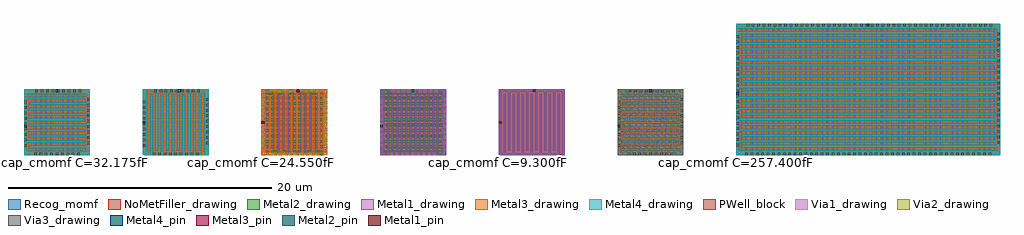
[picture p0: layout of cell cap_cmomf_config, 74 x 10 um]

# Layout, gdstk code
import gdstk
lib = gdstk.Library(unit=1e-6, precision=1e-09)
def R(c, l, rs):  # rectangles x0, y0, x1, y1
    for r in rs: c.add(gdstk.rectangle(r[:2], r[2:], *l))
def A(c, l, x, y, w, h, nx, ny, dx, dy):  # array of equal rectangles
    R(c, l, [(x+i*dx, y+j*dy, x+i*dx+w, y+j*dy+h) for i in range(nx) for j in range(ny)])
Metal1_drawing = (8, 0)
Metal1_pin = (8, 2)
Metal2_drawing = (10, 0)
Metal2_pin = (10, 2)
Via1_drawing = (19, 0)
Via2_drawing = (29, 0)
Metal3_drawing = (30, 0)
Metal3_pin = (30, 2)
PWell_block = (46, 21)
Via3_drawing = (49, 0)
Metal4_drawing = (50, 0)
Metal4_pin = (50, 2)
Recog_momf = (99, 40)
NoMetFiller_drawing = (160, 0)

cap_cmomf_config = lib.new_cell('cap_cmomf_config')
A(cap_cmomf_config, Metal1_drawing, 0.55, 0, 0.16, 4.61, 6, 1, 0.68, 0)
A(cap_cmomf_config, Metal1_drawing, 18.55, 0, 0.16, 4.61, 6, 1, 0.68, 0)
A(cap_cmomf_config, Metal1_drawing, 27.55, 0, 0.16, 4.61, 6, 1, 0.68, 0)
A(cap_cmomf_config, Metal1_drawing, 36.38, 0, 0.16, 4.66, 7, 1, 0.68, 0)
A(cap_cmomf_config, Metal1_drawing, 45.55, 0, 0.16, 4.61, 6, 1, 0.68, 0)
A(cap_cmomf_config, Metal1_drawing, 54.4, 0, 0.16, 9.61, 29, 1, 0.68, 0)
A(cap_cmomf_config, Metal1_drawing, 36.72, 0.34, 0.16, 4.66, 6, 1, 0.68, 0)
A(cap_cmomf_config, Metal1_drawing, 0.89, 0.39, 0.16, 4.61, 6, 1, 0.68, 0)
A(cap_cmomf_config, Metal1_drawing, 18.89, 0.39, 0.16, 4.61, 6, 1, 0.68, 0)
A(cap_cmomf_config, Metal1_drawing, 27.89, 0.39, 0.16, 4.61, 6, 1, 0.68, 0)
A(cap_cmomf_config, Metal1_drawing, 45.89, 0.39, 0.16, 4.61, 6, 1, 0.68, 0)
A(cap_cmomf_config, Metal1_drawing, 54.74, 0.39, 0.16, 9.61, 28, 1, 0.68, 0)
R(cap_cmomf_config, Metal1_drawing, [(0,0,0.33,5), (0,0,4.45,0.21), (4.67,0,5,5), (18,0,18.33,5), (18,0,22.45,0.21), (22.67,0,23,5), (27,0,27.33,5), (27,0,31.45,0.21), (31.67,0,32,5), (36,0,40.62,0.16), (36,0,36.2,5), (40.8,0,41,5), (45,0,45.33,5), (45,0,49.45,0.21), (49.67,0,50,5), (54,0,54.22,10), (54,0,73.6,0.21), (73.78,0,74,10), (0.55,4.79,5,5), (18.55,4.79,23,5), (27.55,4.79,32,5), (45.55,4.79,50,5), (36.38,4.84,41,5), (54.4,9.79,74,10)])
R(cap_cmomf_config, Metal1_pin, [(36,2.4,36.2,2.6), (38.59,4.84,38.79,5)])
A(cap_cmomf_config, Metal2_drawing, 9.555, 0, 0.2, 4.585, 5, 1, 0.82, 0)
A(cap_cmomf_config, Metal2_drawing, 9.965, 0.415, 0.2, 4.585, 5, 1, 0.82, 0)
A(cap_cmomf_config, Metal2_drawing, 0.42, 0.555, 4.58, 0.2, 1, 5, 0, 0.82)
A(cap_cmomf_config, Metal2_drawing, 18.42, 0.555, 4.58, 0.2, 1, 5, 0, 0.82)
A(cap_cmomf_config, Metal2_drawing, 27.42, 0.555, 4.58, 0.2, 1, 5, 0, 0.82)
A(cap_cmomf_config, Metal2_drawing, 45.42, 0.555, 4.58, 0.2, 1, 5, 0, 0.82)
A(cap_cmomf_config, Metal2_drawing, 54.42, 0.595, 19.58, 0.2, 1, 11, 0, 0.82)
A(cap_cmomf_config, Metal2_drawing, 0, 0.965, 4.58, 0.2, 1, 5, 0, 0.82)
A(cap_cmomf_config, Metal2_drawing, 18, 0.965, 4.58, 0.2, 1, 5, 0, 0.82)
A(cap_cmomf_config, Metal2_drawing, 27, 0.965, 4.58, 0.2, 1, 5, 0, 0.82)
A(cap_cmomf_config, Metal2_drawing, 45, 0.965, 4.58, 0.2, 1, 5, 0, 0.82)
A(cap_cmomf_config, Metal2_drawing, 54, 1.005, 19.58, 0.2, 1, 11, 0, 0.82)
R(cap_cmomf_config, Metal2_drawing, [(0,0,5,0.345), (0,0,0.205,4.445), (9,0,9.345,5), (9,0,13.445,0.2), (13.655,0,14,5), (18,0,23,0.345), (18,0,18.205,4.445), (27,0,32,0.345), (27,0,27.205,4.445), (45,0,50,0.345), (45,0,45.205,4.445), (54,0,74,0.385), (54,0,54.205,9.405), (4.795,0.555,5,5), (22.795,0.555,23,5), (31.795,0.555,32,5), (49.795,0.555,50,5), (73.795,0.595,74,10), (0,4.655,5,5), (18,4.655,23,5), (27,4.655,32,5), (45,4.655,50,5), (9.555,4.8,14,5), (54,9.615,74,10)])
R(cap_cmomf_config, Metal2_pin, [(27,2.12,27.2,2.32), (29.4,4.8,29.6,5)])
A(cap_cmomf_config, Via1_drawing, 0.765, 0.01, 0.19, 0.19, 9, 1, 0.41, 0)
A(cap_cmomf_config, Via1_drawing, 18.765, 0.01, 0.19, 0.19, 9, 1, 0.41, 0)
A(cap_cmomf_config, Via1_drawing, 27.765, 0.01, 0.19, 0.19, 9, 1, 0.41, 0)
A(cap_cmomf_config, Via1_drawing, 45.765, 0.01, 0.19, 0.19, 9, 1, 0.41, 0)
A(cap_cmomf_config, Via1_drawing, 54.68, 0.01, 0.19, 0.19, 46, 1, 0.41, 0)
A(cap_cmomf_config, Via1_drawing, 0.01, 0.665, 0.19, 0.19, 1, 9, 0, 0.41)
A(cap_cmomf_config, Via1_drawing, 18.01, 0.665, 0.19, 0.19, 1, 9, 0, 0.41)
A(cap_cmomf_config, Via1_drawing, 27.01, 0.665, 0.19, 0.19, 1, 9, 0, 0.41)
A(cap_cmomf_config, Via1_drawing, 45.01, 0.665, 0.19, 0.19, 1, 9, 0, 0.41)
A(cap_cmomf_config, Via1_drawing, 54.01, 0.705, 0.19, 0.19, 1, 21, 0, 0.41)
A(cap_cmomf_config, Via1_drawing, 4.8, 0.865, 0.19, 0.19, 1, 9, 0, 0.41)
A(cap_cmomf_config, Via1_drawing, 22.8, 0.865, 0.19, 0.19, 1, 9, 0, 0.41)
A(cap_cmomf_config, Via1_drawing, 31.8, 0.865, 0.19, 0.19, 1, 9, 0, 0.41)
A(cap_cmomf_config, Via1_drawing, 49.8, 0.865, 0.19, 0.19, 1, 9, 0, 0.41)
A(cap_cmomf_config, Via1_drawing, 73.8, 0.905, 0.19, 0.19, 1, 21, 0, 0.41)
A(cap_cmomf_config, Via1_drawing, 0.865, 4.8, 0.19, 0.19, 9, 1, 0.41, 0)
A(cap_cmomf_config, Via1_drawing, 18.865, 4.8, 0.19, 0.19, 9, 1, 0.41, 0)
A(cap_cmomf_config, Via1_drawing, 27.865, 4.8, 0.19, 0.19, 9, 1, 0.41, 0)
A(cap_cmomf_config, Via1_drawing, 45.865, 4.8, 0.19, 0.19, 9, 1, 0.41, 0)
A(cap_cmomf_config, Via1_drawing, 54.78, 9.8, 0.19, 0.19, 46, 1, 0.41, 0)
A(cap_cmomf_config, Via2_drawing, 0.765, 0.005, 0.19, 0.19, 9, 1, 0.41, 0)
A(cap_cmomf_config, Via2_drawing, 9.765, 0.005, 0.19, 0.19, 9, 1, 0.41, 0)
A(cap_cmomf_config, Via2_drawing, 18.765, 0.005, 0.19, 0.19, 9, 1, 0.41, 0)
A(cap_cmomf_config, Via2_drawing, 45.765, 0.005, 0.19, 0.19, 9, 1, 0.41, 0)
A(cap_cmomf_config, Via2_drawing, 54.68, 0.005, 0.19, 0.19, 46, 1, 0.41, 0)
A(cap_cmomf_config, Via2_drawing, 0.005, 0.665, 0.19, 0.19, 3, 9, 9, 0.41)
A(cap_cmomf_config, Via2_drawing, 45.005, 0.665, 0.19, 0.19, 1, 9, 0, 0.41)
A(cap_cmomf_config, Via2_drawing, 54.005, 0.705, 0.19, 0.19, 1, 21, 0, 0.41)
A(cap_cmomf_config, Via2_drawing, 4.805, 0.865, 0.19, 0.19, 3, 9, 9, 0.41)
A(cap_cmomf_config, Via2_drawing, 49.805, 0.865, 0.19, 0.19, 1, 9, 0, 0.41)
A(cap_cmomf_config, Via2_drawing, 73.805, 0.905, 0.19, 0.19, 1, 21, 0, 0.41)
A(cap_cmomf_config, Via2_drawing, 0.865, 4.805, 0.19, 0.19, 9, 1, 0.41, 0)
A(cap_cmomf_config, Via2_drawing, 9.865, 4.805, 0.19, 0.19, 9, 1, 0.41, 0)
A(cap_cmomf_config, Via2_drawing, 18.865, 4.805, 0.19, 0.19, 9, 1, 0.41, 0)
A(cap_cmomf_config, Via2_drawing, 45.865, 4.805, 0.19, 0.19, 9, 1, 0.41, 0)
A(cap_cmomf_config, Via2_drawing, 54.78, 9.805, 0.19, 0.19, 46, 1, 0.41, 0)
A(cap_cmomf_config, Metal3_drawing, 0.555, 0, 0.2, 4.59, 5, 1, 0.82, 0)
A(cap_cmomf_config, Metal3_drawing, 18.555, 0, 0.2, 4.59, 5, 1, 0.82, 0)
A(cap_cmomf_config, Metal3_drawing, 45.555, 0, 0.2, 4.59, 5, 1, 0.82, 0)
A(cap_cmomf_config, Metal3_drawing, 54.47, 0, 0.2, 9.59, 24, 1, 0.82, 0)
A(cap_cmomf_config, Metal3_drawing, 0.965, 0.41, 0.2, 4.59, 5, 1, 0.82, 0)
A(cap_cmomf_config, Metal3_drawing, 18.965, 0.41, 0.2, 4.59, 5, 1, 0.82, 0)
A(cap_cmomf_config, Metal3_drawing, 45.965, 0.41, 0.2, 4.59, 5, 1, 0.82, 0)
A(cap_cmomf_config, Metal3_drawing, 54.88, 0.41, 0.2, 9.59, 23, 1, 0.82, 0)
A(cap_cmomf_config, Metal3_drawing, 9.41, 0.555, 4.59, 0.2, 1, 5, 0, 0.82)
A(cap_cmomf_config, Metal3_drawing, 9, 0.965, 4.59, 0.2, 1, 5, 0, 0.82)
R(cap_cmomf_config, Metal3_drawing, [(0,0,0.345,5), (0,0,4.445,0.2), (4.655,0,5,5), (9,0,14,0.345), (9,0,9.2,4.445), (18,0,18.345,5), (18,0,22.445,0.2), (22.655,0,23,5), (45,0,45.345,5), (45,0,49.445,0.2), (49.655,0,50,5), (54,0,54.26,10), (54,0,73.53,0.2), (73.74,0,74,10), (13.8,0.555,14,5), (9,4.655,14,5), (0.555,4.8,5,5), (18.555,4.8,23,5), (45.555,4.8,50,5), (54.47,9.8,74,10)])
R(cap_cmomf_config, Metal3_pin, [(18,2.4,18.2,2.6), (20.675,4.8,20.875,5)])
R(cap_cmomf_config, PWell_block, [(45,0,50,5)])
A(cap_cmomf_config, Via3_drawing, 0.765, 0.005, 0.19, 0.19, 9, 1, 0.41, 0)
A(cap_cmomf_config, Via3_drawing, 9.765, 0.005, 0.19, 0.19, 9, 1, 0.41, 0)
A(cap_cmomf_config, Via3_drawing, 45.765, 0.005, 0.19, 0.19, 9, 1, 0.41, 0)
A(cap_cmomf_config, Via3_drawing, 54.68, 0.005, 0.19, 0.19, 46, 1, 0.41, 0)
A(cap_cmomf_config, Via3_drawing, 0.005, 0.665, 0.19, 0.19, 1, 9, 0, 0.41)
A(cap_cmomf_config, Via3_drawing, 9.005, 0.665, 0.19, 0.19, 1, 9, 0, 0.41)
A(cap_cmomf_config, Via3_drawing, 45.005, 0.665, 0.19, 0.19, 1, 9, 0, 0.41)
A(cap_cmomf_config, Via3_drawing, 54.005, 0.705, 0.19, 0.19, 1, 21, 0, 0.41)
A(cap_cmomf_config, Via3_drawing, 4.805, 0.865, 0.19, 0.19, 1, 9, 0, 0.41)
A(cap_cmomf_config, Via3_drawing, 13.805, 0.865, 0.19, 0.19, 1, 9, 0, 0.41)
A(cap_cmomf_config, Via3_drawing, 49.805, 0.865, 0.19, 0.19, 1, 9, 0, 0.41)
A(cap_cmomf_config, Via3_drawing, 73.805, 0.905, 0.19, 0.19, 1, 21, 0, 0.41)
A(cap_cmomf_config, Via3_drawing, 0.865, 4.805, 0.19, 0.19, 9, 1, 0.41, 0)
A(cap_cmomf_config, Via3_drawing, 9.865, 4.805, 0.19, 0.19, 9, 1, 0.41, 0)
A(cap_cmomf_config, Via3_drawing, 45.865, 4.805, 0.19, 0.19, 9, 1, 0.41, 0)
A(cap_cmomf_config, Via3_drawing, 54.78, 9.805, 0.19, 0.19, 46, 1, 0.41, 0)
A(cap_cmomf_config, Metal4_drawing, 9.555, 0, 0.2, 4.59, 5, 1, 0.82, 0)
A(cap_cmomf_config, Metal4_drawing, 9.965, 0.41, 0.2, 4.59, 5, 1, 0.82, 0)
A(cap_cmomf_config, Metal4_drawing, 0.41, 0.555, 4.59, 0.2, 1, 5, 0, 0.82)
A(cap_cmomf_config, Metal4_drawing, 45.41, 0.555, 4.59, 0.2, 1, 5, 0, 0.82)
A(cap_cmomf_config, Metal4_drawing, 54.41, 0.595, 19.59, 0.2, 1, 11, 0, 0.82)
A(cap_cmomf_config, Metal4_drawing, 0, 0.965, 4.59, 0.2, 1, 5, 0, 0.82)
A(cap_cmomf_config, Metal4_drawing, 45, 0.965, 4.59, 0.2, 1, 5, 0, 0.82)
A(cap_cmomf_config, Metal4_drawing, 54, 1.005, 19.59, 0.2, 1, 11, 0, 0.82)
R(cap_cmomf_config, Metal4_drawing, [(0,0,5,0.345), (0,0,0.2,4.445), (9,0,9.345,5), (9,0,13.445,0.2), (13.655,0,14,5), (45,0,50,0.345), (45,0,45.2,4.445), (54,0,74,0.385), (54,0,54.2,9.405), (4.8,0.555,5,5), (49.8,0.555,50,5), (73.8,0.595,74,10), (0,4.655,5,5), (45,4.655,50,5), (9.555,4.8,14,5), (54,9.615,74,10)])
R(cap_cmomf_config, Metal4_pin, [(0,2.12,0.2,2.32), (45,2.12,45.2,2.32), (9,2.4,9.2,2.6), (54,4.6,54.2,4.8), (2.4,4.8,2.6,5), (11.675,4.8,11.875,5), (47.4,4.8,47.6,5), (63.9,9.8,64.1,10)])
A(cap_cmomf_config, Recog_momf, 0, 0, 5, 5, 6, 1, 9, 0)
R(cap_cmomf_config, Recog_momf, [(54,0,74,10)])
A(cap_cmomf_config, NoMetFiller_drawing, 0, 0, 5, 5, 6, 1, 9, 0)
R(cap_cmomf_config, NoMetFiller_drawing, [(54,0,74,10)])
cap_cmomf_config.add(gdstk.Label('cap_cmomf C=32.175fF', (0,-0.5), layer=63, texttype=0))
cap_cmomf_config.add(gdstk.Label('cap_cmomf C=22.875fF', (9,-0.5), layer=63, texttype=0))
cap_cmomf_config.add(gdstk.Label('cap_cmomf C=24.550fF', (18,-0.5), layer=63, texttype=0))
cap_cmomf_config.add(gdstk.Label('cap_cmomf C=16.925fF', (27,-0.5), layer=63, texttype=0))
cap_cmomf_config.add(gdstk.Label('cap_cmomf C=9.300fF', (36,-0.5), layer=63, texttype=0))
cap_cmomf_config.add(gdstk.Label('cap_cmomf C=32.175fF', (45,-0.5), layer=63, texttype=0))
cap_cmomf_config.add(gdstk.Label('cap_cmomf C=257.400fF', (54,-0.5), layer=63, texttype=0))

lib.write_gds('cap_cmomf_config.gds')
